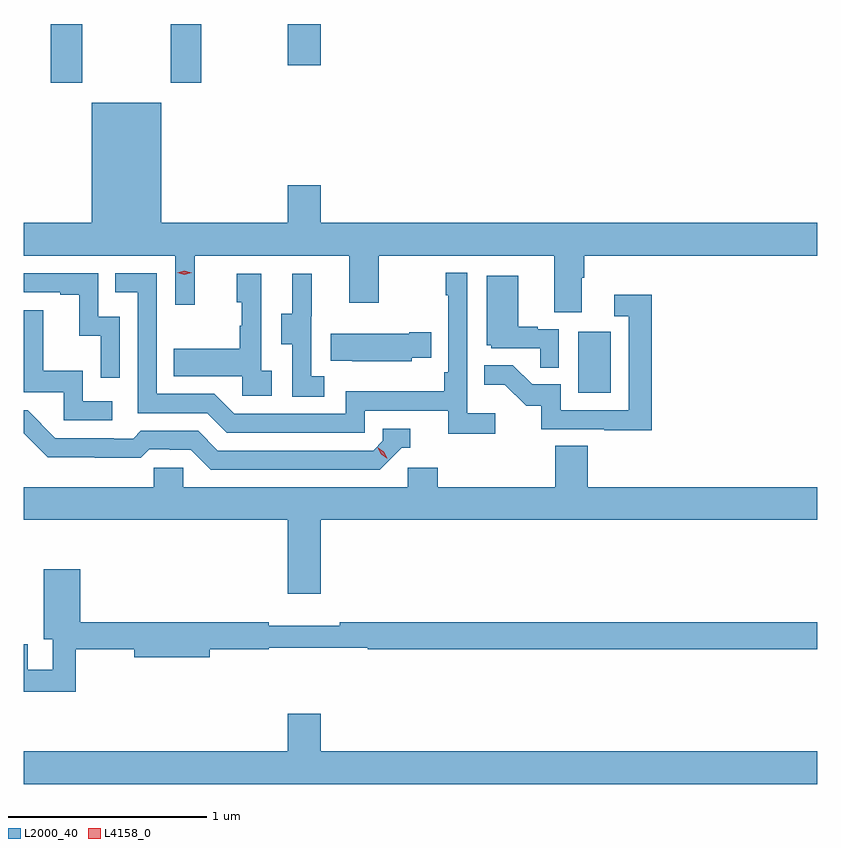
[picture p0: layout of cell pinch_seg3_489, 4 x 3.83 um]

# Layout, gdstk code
import gdstk
lib = gdstk.Library(unit=1e-6, precision=1e-09)
def R(c, l, rs):  # rectangles x0, y0, x1, y1
    for r in rs: c.add(gdstk.rectangle(r[:2], r[2:], *l))
def P(c, l, *ps):  # polygons
    for p in ps: c.add(gdstk.Polygon(p, *l))
L2000_40 = (2000, 40)
L4158_0 = (4158, 0)

pinch_seg3_489 = lib.new_cell('pinch_seg3_489')
R(pinch_seg3_489, L2000_40, [(993.644,677.58,993.808,677.887), (990.983,679.143,991.143,679.439), (991.588,679.143,991.743,679.439), (992.18,679.23,992.344,679.439)])
P(pinch_seg3_489, L2000_40, [(993.661,678.16),(993.674,678.16),(993.674,678.272),(994.848,678.272),(994.848,678.436),(992.344,678.436),(992.344,678.625),(992.18,678.625),(992.18,678.436),(991.54,678.436),(991.54,679.042),(991.19,679.042),(991.19,678.436),(990.848,678.436),(990.848,678.272),(991.611,678.272),(991.611,678.024),(991.709,678.024),(991.709,678.272),(992.489,678.272),(992.489,678.033),(992.637,678.033),(992.637,678.272),(993.521,678.272),(993.521,677.986),(993.661,677.986)],
  [(993.226,677.476),(993.084,677.476),(993.084,678.184),(992.976,678.184),(992.976,678.071),(992.988,678.071),(992.988,677.683),(992.968,677.683),(992.968,677.587),(992.472,677.587),(992.472,677.475),(991.908,677.475),(991.809,677.574),(991.518,677.574),(991.518,678.183),(991.309,678.183),(991.309,678.087),(991.422,678.087),(991.422,677.478),(991.772,677.478),(991.871,677.379),(992.568,677.379),(992.568,677.49),(992.987,677.49),(992.987,677.374),(993.226,677.374)],
  [(991.332,677.964),(991.224,677.964),(991.224,678.183),(990.848,678.183),(990.848,678.087),(991.031,678.087),(991.031,678.075),(991.127,678.075),(991.127,677.867),(991.236,677.867),(991.236,677.655),(991.332,677.655)],
  [(992.362,677.663),(992.298,677.663),(992.298,677.967),(992.3,677.967),(992.3,678.181),(992.201,678.181),(992.201,677.979),(992.147,677.979),(992.147,677.824),(992.202,677.824),(992.202,677.56),(992.362,677.56)],
  [(992.098,677.69),(992.046,677.69),(992.046,678.181),(991.922,678.181),(991.922,678.036),(991.948,678.036),(991.948,677.918),(991.938,677.918),(991.938,677.803),(991.603,677.803),(991.603,677.663),(991.95,677.663),(991.95,677.565),(992.098,677.565)],
  [(993.546,677.901),(993.44,677.901),(993.44,677.914),(993.34,677.914),(993.34,678.169),(993.182,678.169),(993.182,677.82),(993.204,677.82),(993.204,677.805),(993.451,677.805),(993.451,677.707),(993.546,677.707)],
  [(994.013,678.073),(993.825,678.073),(993.825,677.967),(993.897,677.967),(993.897,677.493),(993.555,677.493),(993.555,677.622),(993.411,677.622),(993.313,677.72),(993.169,677.72),(993.169,677.621),(993.273,677.621),(993.38,677.514),(993.457,677.514),(993.457,677.397),(993.775,677.397),(993.775,677.392),(994.013,677.392)],
  [(991.294,677.538),(991.146,677.538),(991.146,677.692),(990.947,677.692),(990.947,677.995),(990.848,677.995),(990.848,677.583),(991.05,677.583),(991.05,677.442),(991.294,677.442)],
  [(992.805,677.756),(992.903,677.756),(992.903,677.886),(992.792,677.886),(992.792,677.878),(992.395,677.878),(992.395,677.741),(992.503,677.741),(992.503,677.738),(992.805,677.738)],
  [(992.754,677.304),(992.797,677.304),(992.797,677.4),(992.658,677.4),(992.658,677.337),(992.61,677.289),(991.827,677.289),(991.728,677.388),(991.439,677.388),(991.4,677.349),(991.301,677.349),(991.301,677.352),(991.008,677.352),(990.867,677.493),(990.848,677.493),(990.848,677.377),(990.97,677.255),(991.206,677.255),(991.206,677.253),(991.439,677.253),(991.481,677.295),(991.584,677.295),(991.584,677.292),(991.691,677.292),(991.79,677.193),(992.643,677.193)],
  [(992.344,676.94),(994.848,676.94),(994.848,677.104),(993.692,677.104),(993.692,677.312),(993.527,677.312),(993.527,677.104),(992.936,677.104),(992.936,677.202),(992.784,677.202),(992.784,677.104),(991.653,677.104),(991.653,677.202),(991.503,677.202),(991.503,677.104),(990.848,677.104),(990.848,676.94),(992.18,676.94),(992.18,676.566),(992.344,676.566)],
  [(991.109,676.288),(991.406,676.288),(991.406,676.246),(991.786,676.246),(991.786,676.288),(992.082,676.288),(992.082,676.296),(992.582,676.296),(992.582,676.288),(994.848,676.288),(994.848,676.424),(992.44,676.424),(992.44,676.405),(992.084,676.405),(992.084,676.424),(991.133,676.424),(991.133,676.69),(990.95,676.69),(990.95,676.337),(990.993,676.337),(990.993,676.183),(990.867,676.183),(990.867,676.313),(990.848,676.313),(990.848,676.074),(991.109,676.074)],
  [(994.848,675.772),(992.344,675.772),(992.344,675.961),(992.18,675.961),(992.18,675.772),(990.848,675.772),(990.848,675.608),(994.848,675.608)])
P(pinch_seg3_489, L4158_0, [(992.679,677.249),(992.649,677.269),(992.633,677.302),(992.633,677.303),(992.634,677.303),(992.664,677.283),(992.68,677.25),(992.68,677.249)],
  [(991.658,678.176),(991.622,678.186),(991.622,678.186),(991.622,678.186),(991.658,678.196),(991.694,678.186),(991.694,678.186),(991.694,678.186)])

lib.write_gds('pinch_seg3_489.gds')
